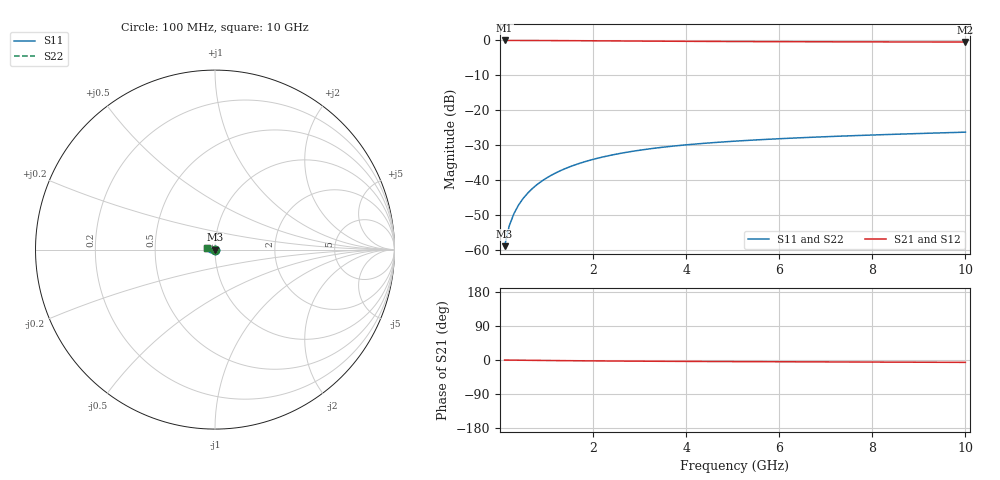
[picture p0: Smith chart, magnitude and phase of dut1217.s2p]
! Touchstone file exported from HFSS 2024.1.0
!  File:  C:/UserFiles/LocalFiles/RDL_TSV_Batchsim/temp_TSV1_1217_1780249103.aedt
!  Generated:  01:42:36 AM Jun  1, 2026
!  Design:  TSV1
!  Project:  temp_TSV1_1217_1780249103
!  Setup:  Setup1
!  Solution:  Sweep
! Variables:
!  dtsv = 7.62um
!  hbump = 3um
!  htsv = 99.11um
!  lrdl = 252.1521522um
!  p = 40
!  p1 = 47.22um
!  t = 500um
!  trdl = 3um
!  wrdl = 24.89489489um
# GHz S MA R 50.000000
! Terminal data exported
! Port[1] = TSV22_T1
! Port[2] = TSV22_T2
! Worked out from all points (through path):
!   100 points, 100 MHz to 10 GHz, reference 50 ohm
!   highest |S21| = 0.00 dB at 100 MHz (marker M1); lowest = -0.5 dB at 10 GHz (marker M2)
!   lowest |S11| = -59.0 dB at 100 MHz (marker M3), VSWR 1.00, Z = 50 - j0.109 ohm
!   |S11| at or under -10 dB: start of sweep to end of sweep
!   |S22| runs from -59.0 to -26.3 dB; largest |S21 - S12| = 4.1e-15
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0.1  0.001116 -77.0  0.9997 -0.1  0.9997 -0.1  0.001116 -77.0
! Gamma 0 0 0 0
! Port Impedance 50 0 50 0
0.2  0.00219 -85.9  0.9996 -0.3  0.9996 -0.3  0.00219 -85.9
0.3  0.003272 -90.3  0.9994 -0.4  0.9994 -0.4  0.003272 -90.3
0.4  0.00435 -93.4  0.9991 -0.5  0.9991 -0.5  0.00435 -93.4
0.5  0.005422 -95.9  0.9988 -0.7  0.9988 -0.7  0.005422 -95.9
0.6  0.006484 -98.3  0.9984 -0.8  0.9984 -0.8  0.006484 -98.3
0.7  0.007535 -100.4  0.998 -0.9  0.998 -0.9  0.007535 -100.4
0.8  0.008574 -102.5  0.9975 -1.0  0.9975 -1.0  0.008574 -102.5
0.9  0.009598 -104.5  0.9969 -1.2  0.9969 -1.2  0.009598 -104.5
1.1  0.0116 -108.2  0.9957 -1.4  0.9957 -1.4  0.0116 -108.2
1.4  0.01446 -113.6  0.9935 -1.7  0.9935 -1.7  0.01446 -113.6
1.6  0.01627 -117.0  0.9919 -1.9  0.9919 -1.9  0.01627 -117.0
1.8  0.018 -120.3  0.9902 -2.1  0.9902 -2.1  0.018 -120.3
2.1  0.02042 -125.0  0.9876 -2.4  0.9876 -2.4  0.02042 -125.0
2.5  0.02336 -130.9  0.984 -2.7  0.984 -2.7  0.02336 -130.9
2.9  0.02597 -136.4  0.9805 -3.0  0.9805 -3.0  0.02597 -136.4
3.4  0.02883 -142.7  0.9763 -3.4  0.9763 -3.4  0.02883 -142.7
4.2  0.03262 -151.7  0.9704 -3.8  0.9704 -3.8  0.03262 -151.7
5.1  0.03605 -160.4  0.9649 -4.2  0.9649 -4.2  0.03605 -160.4
6.7  0.04078 -173.2  0.9576 -4.9  0.9576 -4.9  0.04078 -173.2
8.4  0.04484 175.7  0.9525 -5.6  0.9525 -5.6  0.04485 175.7
10  0.04828 167.0  0.9491 -6.3  0.9491 -6.3  0.04828 167.0
